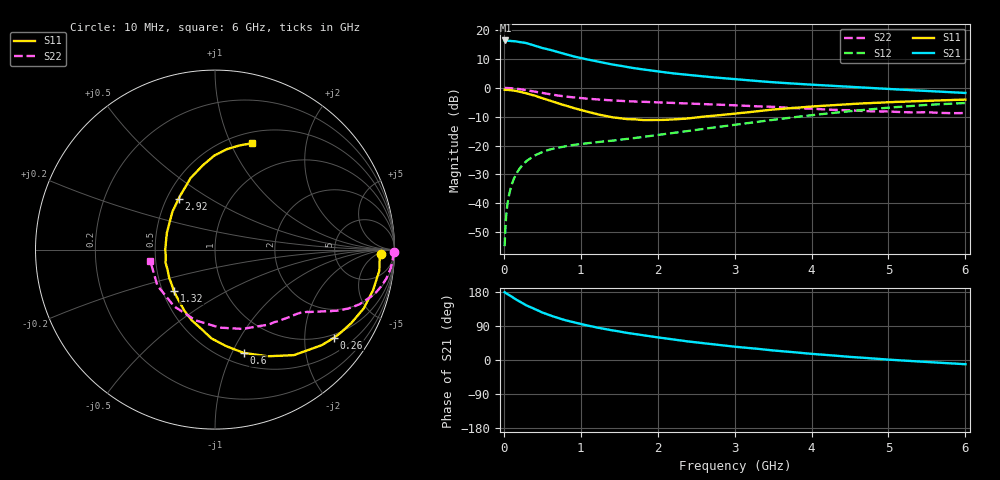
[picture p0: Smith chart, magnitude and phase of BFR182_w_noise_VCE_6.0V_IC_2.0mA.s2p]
! Infineon Technologies  Discrete & RF Semiconductors
! BFR182
! VCE =  6.0 V,  IC =  2.0 mA
! Common Emitter S-Parameters:  Nov 2015
# GHz  S  MA  R  50
!  f  S11  S21  S12  S22
! GHz  MAG  ANG  MAG  ANG  MAG  ANG  MAG  ANG
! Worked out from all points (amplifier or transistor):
!   210 points, 10 MHz to 6 GHz, reference 50 ohm
!   highest |S21| = 16.4 dB at 20 MHz (marker M1)
!   |S21| within 3 dB of that: start of sweep to 560 MHz
!   unconditionally stable (mu >= 1): 1.503 GHz to 3.148 GHz
!   at 185 MHz: K = 0.18, MSG = 22.4 dB, |S12| = -28.8 dB
!   at 1.52 GHz: K = 1.01, MAG = 12.3 dB, |S12| = -18.0 dB
!   at 6 GHz: K = 0.89, MSG = 1.7 dB, |S12| = -5.2 dB
!   lowest NFmin = 1.10 dB at 450 MHz
!   S11 on the Smith chart (normalised r, x): 10 MHz: 23, -8; 260 MHz: 0.90, -2.77; 600 MHz: 0.62, -1.11; 1.32 GHz: 0.57, -0.30; 2.92 GHz: 0.58, +0.37; 6 GHz: 0.62, +1.20
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0.01  0.9248 -1.5  6.582 178.8  0.0018 91.5  0.9963 -0.7
0.02  0.9188 -3.0  6.625 177.2  0.0037 83.2  0.9935 -1.3
0.045  0.922 -6.6  6.555 174.3  0.0092 84.7  0.9923 -2.9
0.09  0.9107 -13.0  6.502 168.9  0.0184 81.5  0.9853 -5.6
0.15  0.8913 -21.5  6.42 160.6  0.0302 77.4  0.9699 -9.4
0.26  0.8252 -36.5  6.073 148.0  0.0487 69.3  0.9268 -15.0
0.3  0.7985 -41.8  5.923 143.4  0.0545 67.4  0.9066 -16.9
0.4  0.7342 -53.2  5.401 134.6  0.067 61.6  0.86 -20.8
0.5  0.6617 -63.9  4.906 125.3  0.077 57.7  0.8159 -23.6
0.6  0.5972 -74.5  4.564 117.6  0.0855 54.5  0.773 -26.0
0.8  0.4951 -92.3  3.841 104.9  0.097 50.2  0.7062 -29.1
1.02  0.4074 -109.7  3.238 94.0  0.1067 48.8  0.6605 -31.5
1.2  0.3515 -124.6  2.886 86.0  0.1138 48.8  0.6317 -33.4
1.32  0.3256 -134.5  2.679 81.6  0.1185 49.2  0.6153 -34.4
1.6  0.2872 -156.9  2.3 71.5  0.1303 51.2  0.5867 -37.1
2.02  0.2768 171.6  1.912 59.2  0.1528 53.7  0.5601 -42.1
2.4  0.2957 148.6  1.677 48.8  0.1781 55.7  0.5368 -47.5
2.92  0.3477 125.6  1.442 37.0  0.2217 56.1  0.5039 -56.8
3.1  0.3681 119.7  1.376 33.3  0.2391 55.5  0.4902 -60.6
4.1  0.4835 96.6  1.114 14.7  0.3466 48.8  0.4268 -90.1
5.1  0.5702 81.8  0.942 -0.2  0.4632 36.4  0.3828 -130.2
6  0.6264 71.0  0.815 -11.1  0.5464 22.2  0.3663 -169.9
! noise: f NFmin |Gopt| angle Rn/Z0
0.45  1.1  0.42  29  0.36
0.9  1.2  0.4  58  0.3
1.8  1.85  0.32  126  0.22
